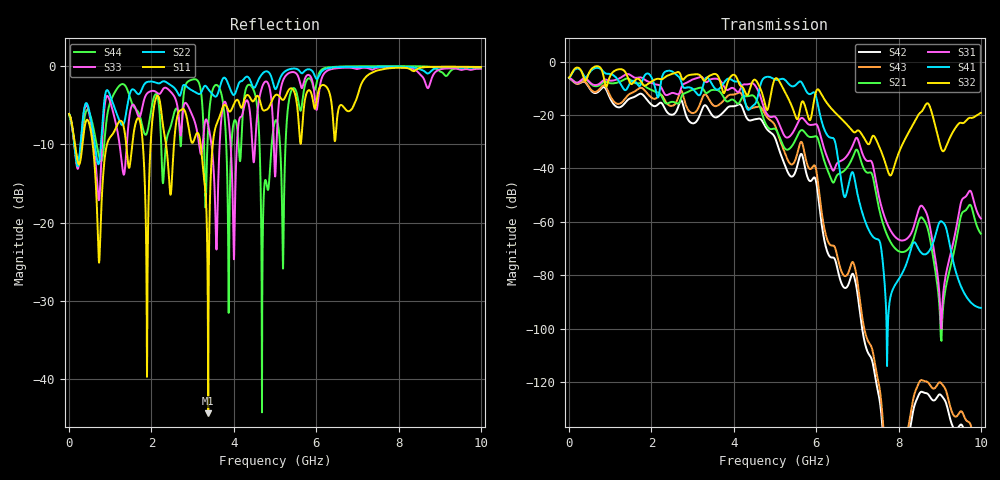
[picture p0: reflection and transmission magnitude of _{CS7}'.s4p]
! Touchstone generated by fitter/viewer
! HL_PORTMAP 1.0
! PORT  1  (PIN U43.7, ~{CS7}', S)
! PORT  2  (PIN U18.20, ~{CS7}', S)
! PORT  3  (PIN U18.22, ~{CS7}', S)
! PORT  4  (PIN U24.10, ~{CS7}', S)
! CONNECT 1, 2, 3, 4;
! END_HL_PORTMAP
# HZ S  RI R 5.000000e+01
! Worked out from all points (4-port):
!   3075 points, 100 kHz to 10 GHz, reference 50 ohm
!   strongest paths, dB at 100 kHz, 1.175 GHz, 2.849 GHz, 4.62 GHz, 10 GHz:
!     S32: -6.0, -3.0, -5.5, -9.2, -19.2
!     S41: -6.0, -6.6, -9.7, -10.4, -92.2
!     S31: -6.1, -6.6, -7.9, -11.9, -58.7
!     S21: -6.1, -7.8, -11.6, -16.4, -64.4
!     S43: -6.1, -15.8, -16.8, -16.8, -151.1
!     S42: -6.1, -17.1, -20.5, -21.3, -156.8
!   lowest |S11| = -44.3 dB at 3.379 GHz (marker M1), VSWR 1.01, Z = 50.5 + j0.321 ohm
!   |S11| at or under -10 dB: 573.1 MHz to 919.6 MHz (346.5 MHz wide, 46.4 % of centre); 2.354 GHz to 2.547 GHz (192.6 MHz wide, 7.86 % of centre); 3.194 GHz to 3.488 GHz (294.1 MHz wide, 8.8 % of centre)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
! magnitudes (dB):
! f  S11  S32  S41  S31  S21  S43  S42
! 100 kHz  -6.1  -6.0  -6.0  -6.1  -6.1  -6.1  -6.1
! 3.379 GHz  -44.3  -5.6  -6.2  -7.3  -11.4  -13.6  -17.7
! 5.652 GHz  -8.5  -15.1  -7.9  -21.1  -25.6  -30.2  -34.7
! 6.675 GHz  -5.3  -22.4  -50.3  -36.5  -40.9  -80.1  -84.6
! 7.815 GHz  -0.2  -42.5  -87.4  -63.5  -67.8  -152.5  -156.8
! 9.059 GHz  -0.1  -33.3  -60.0  -92.9  -97.4  -120.8  -125.4
! 10 GHz  -0.1  -19.2  -92.2  -58.7  -64.4  -151.1  -156.8
